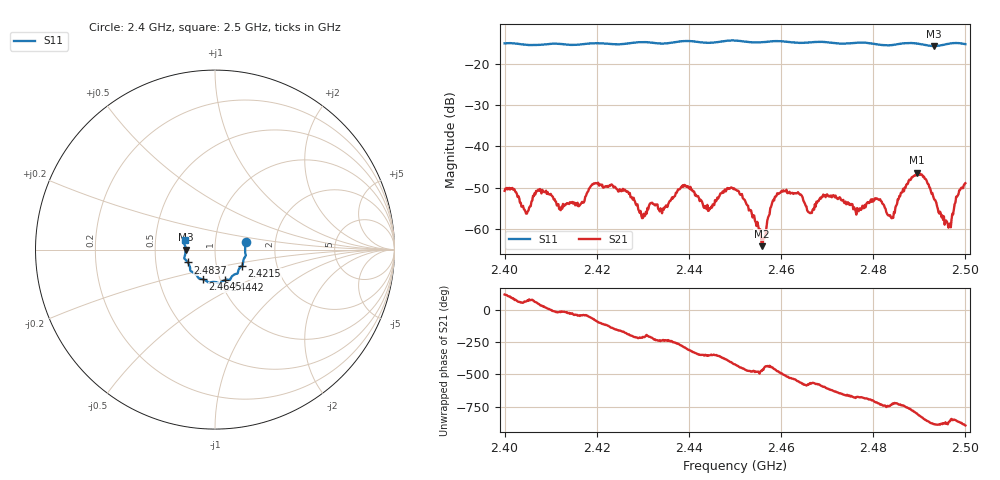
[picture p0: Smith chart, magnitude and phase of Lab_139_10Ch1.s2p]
# Hz S RI R 50
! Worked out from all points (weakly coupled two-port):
!   601 points, 2.4 GHz to 2.5 GHz, reference 50 ohm
!   highest |S21| = -46.35 dB at 2.4895 GHz (marker M1); lowest = -64.1 dB at 2.4558 GHz (marker M2)
!   lowest |S11| = -15.7 dB at 2.4932 GHz (marker M3), VSWR 1.39, Z = 35.9 - j0.0426 ohm
!   |S11| at or under -10 dB: start of sweep to end of sweep
!   S12 and S22 are empty: the file has one direction only
!   S11 on the Smith chart (normalised r, x): 2.4 GHz: 1.41, +0.12; 2.4215 GHz: 1.33, -0.25; 2.4442 GHz: 1.05, -0.37; 2.4645 GHz: 0.83, -0.29; 2.4837 GHz: 0.73, -0.11; 2.5 GHz: 0.71, +0.07
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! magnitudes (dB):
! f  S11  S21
! 2.4 GHz  -15.1  -50.7
! 2.4047 GHz  -15.4  -56.2
! 2.4073 GHz  -15.5  -50.4
! 2.4167 GHz  -15.3  -53.6
! 2.4215 GHz  -15.1  -49.9
! 2.43 GHz  -14.8  -57.3
! 2.4333 GHz  -15.1  -55.1
! 2.439 GHz  -14.5  -49.3
! 2.4442 GHz  -15.0  -55.6
! 2.45 GHz  -14.4  -50.4
! 2.4558 GHz  -14.8  -64.1
! 2.4592 GHz  -14.5  -51.3
! 2.4645 GHz  -15.0  -51.9
! 2.4667 GHz  -14.8  -56.1
! 2.4697 GHz  -14.8  -52.3
! 2.481 GHz  -15.4  -52.7
! 2.4833 GHz  -15.6  -56.7
! 2.4837 GHz  -15.5  -56.6
! 2.4895 GHz  -15.1  -46.4
! 2.4932 GHz  -15.7  -52.6
! 2.4965 GHz  -15.1  -58.8
! 2.5 GHz  -15.3  -48.9
